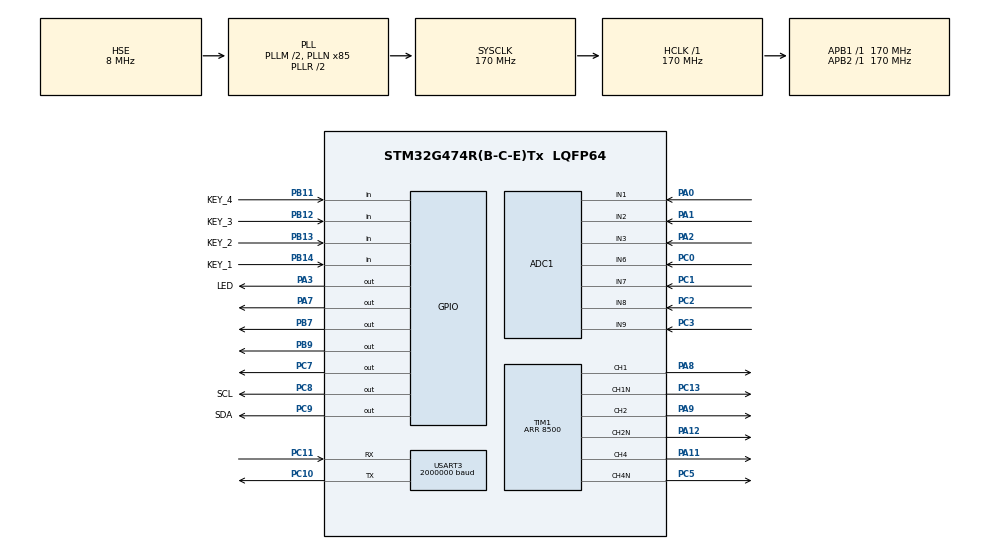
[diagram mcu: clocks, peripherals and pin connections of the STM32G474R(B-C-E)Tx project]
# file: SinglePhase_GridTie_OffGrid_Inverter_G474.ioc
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ADC1.Channel-11\#ChannelRegularConversion=ADC_CHANNEL_1
ADC1.Channel-12\#ChannelRegularConversion=ADC_CHANNEL_2
ADC1.Channel-13\#ChannelRegularConversion=ADC_CHANNEL_3
ADC1.Channel-14\#ChannelRegularConversion=ADC_CHANNEL_6
ADC1.Channel-15\#ChannelRegularConversion=ADC_CHANNEL_7
ADC1.Channel-16\#ChannelRegularConversion=ADC_CHANNEL_8
ADC1.Channel-17\#ChannelRegularConversion=ADC_CHANNEL_9
ADC1.DMAContinuousRequests=ENABLE
ADC1.ExternalTrigConv=ADC_EXTERNALTRIG_T1_TRGO
ADC1.NbrOfConversion=7
ADC1.NbrOfConversionFlag=1
ADC1.OffsetNumber-11\#ChannelRegularConversion=ADC_OFFSET_NONE
ADC1.OffsetNumber-12\#ChannelRegularConversion=ADC_OFFSET_NONE
ADC1.OffsetNumber-13\#ChannelRegularConversion=ADC_OFFSET_NONE
ADC1.OffsetNumber-14\#ChannelRegularConversion=ADC_OFFSET_NONE
ADC1.OffsetNumber-15\#ChannelRegularConversion=ADC_OFFSET_NONE
ADC1.OffsetNumber-16\#ChannelRegularConversion=ADC_OFFSET_NONE
ADC1.OffsetNumber-17\#ChannelRegularConversion=ADC_OFFSET_NONE
ADC1.OversamplingMode=DISABLE
ADC1.Rank-11\#ChannelRegularConversion=1
ADC1.Rank-12\#ChannelRegularConversion=2
ADC1.Rank-13\#ChannelRegularConversion=3
ADC1.Rank-14\#ChannelRegularConversion=4
ADC1.Rank-15\#ChannelRegularConversion=5
ADC1.Rank-16\#ChannelRegularConversion=6
ADC1.Rank-17\#ChannelRegularConversion=7
ADC1.SamplingTime-11\#ChannelRegularConversion=ADC_SAMPLETIME_24CYCLES_5
ADC1.SamplingTime-12\#ChannelRegularConversion=ADC_SAMPLETIME_24CYCLES_5
ADC1.SamplingTime-13\#ChannelRegularConversion=ADC_SAMPLETIME_24CYCLES_5
ADC1.SamplingTime-14\#ChannelRegularConversion=ADC_SAMPLETIME_24CYCLES_5
ADC1.SamplingTime-15\#ChannelRegularConversion=ADC_SAMPLETIME_24CYCLES_5
ADC1.SamplingTime-16\#ChannelRegularConversion=ADC_SAMPLETIME_24CYCLES_5
ADC1.SamplingTime-17\#ChannelRegularConversion=ADC_SAMPLETIME_24CYCLES_5
ADC1.master=1
Dma.ADC1.1.Direction=DMA_PERIPH_TO_MEMORY
Dma.ADC1.1.EventEnable=DISABLE
Dma.ADC1.1.Instance=DMA1_Channel1
Dma.ADC1.1.MemDataAlignment=DMA_MDATAALIGN_HALFWORD
Dma.ADC1.1.MemInc=DMA_MINC_ENABLE
Dma.ADC1.1.Mode=DMA_CIRCULAR
Dma.ADC1.1.PeriphDataAlignment=DMA_PDATAALIGN_HALFWORD
Dma.ADC1.1.PeriphInc=DMA_PINC_DISABLE
Dma.ADC1.1.Polarity=HAL_DMAMUX_REQ_GEN_RISING
Dma.ADC1.1.Priority=DMA_PRIORITY_HIGH
Dma.ADC1.1.RequestNumber=1
Dma.ADC1.1.SignalID=NONE
Dma.ADC1.1.SyncEnable=DISABLE
Dma.ADC1.1.SyncPolarity=HAL_DMAMUX_SYNC_NO_EVENT
Dma.ADC1.1.SyncRequestNumber=1
Dma.ADC1.1.SyncSignalID=NONE
Dma.Request0=USART3_TX
Dma.Request1=ADC1
Dma.USART3_TX.0.Direction=DMA_MEMORY_TO_PERIPH
Dma.USART3_TX.0.EventEnable=DISABLE
Dma.USART3_TX.0.Instance=DMA1_Channel2
Dma.USART3_TX.0.MemDataAlignment=DMA_MDATAALIGN_BYTE
Dma.USART3_TX.0.MemInc=DMA_MINC_ENABLE
Dma.USART3_TX.0.Mode=DMA_CIRCULAR
Dma.USART3_TX.0.PeriphDataAlignment=DMA_PDATAALIGN_BYTE
Dma.USART3_TX.0.PeriphInc=DMA_PINC_DISABLE
Dma.USART3_TX.0.Polarity=HAL_DMAMUX_REQ_GEN_RISING
Dma.USART3_TX.0.Priority=DMA_PRIORITY_LOW
Dma.USART3_TX.0.RequestNumber=1
Dma.USART3_TX.0.SignalID=NONE
Dma.USART3_TX.0.SyncEnable=DISABLE
Dma.USART3_TX.0.SyncPolarity=HAL_DMAMUX_SYNC_NO_EVENT
Dma.USART3_TX.0.SyncRequestNumber=1
Dma.USART3_TX.0.SyncSignalID=NONE
Mcu.Family=STM32G4
Mcu.Name=STM32G474R(B-C-E)Tx
Mcu.Package=LQFP64
NVIC.DMA1_Channel1_IRQn=true\:0\:0\:false\:false\:true\:false\:true\:true
NVIC.DMA1_Channel2_IRQn=true\:2\:0\:true\:false\:true\:false\:true\:true
NVIC.PriorityGroup=NVIC_PRIORITYGROUP_4
NVIC.TIM1_UP_TIM16_IRQn=true\:0\:0\:false\:false\:true\:true\:true\:true
PA0.Mode=IN1-Single-Ended
PA0.Signal=ADC1_IN1
PA1.Mode=IN2-Single-Ended
PA1.Signal=ADC1_IN2
PA11.GPIO_Speed=GPIO_SPEED_FREQ_HIGH
PA11.Signal=S_TIM1_CH4
PA12.GPIO_Speed=GPIO_SPEED_FREQ_HIGH
PA12.Mode=PWM Generation2 CH2 CH2N
PA12.Signal=TIM1_CH2N
PA13.Mode=Serial_Wire
PA13.Signal=SYS_JTMS-SWDIO
PA14.Mode=Serial_Wire
PA14.Signal=SYS_JTCK-SWCLK
PA2.Mode=IN3-Single-Ended
PA2.Signal=ADC1_IN3
PA3.GPIO_Label=LED
PA3.Signal=GPIO_Output
PA7.GPIO_Speed=GPIO_SPEED_FREQ_HIGH
PA7.Signal=GPIO_Output
PA8.GPIO_Speed=GPIO_SPEED_FREQ_LOW
PA8.Signal=S_TIM1_CH1
PA9.GPIO_Speed=GPIO_SPEED_FREQ_HIGH
PA9.Signal=S_TIM1_CH2
PB11.GPIO_Label=KEY_4
PB11.GPIO_PuPd=GPIO_PULLUP
PB11.Signal=GPIO_Input
PB12.GPIO_Label=KEY_3
PB12.GPIO_PuPd=GPIO_PULLUP
PB12.Signal=GPIO_Input
PB13.GPIO_Label=KEY_2
PB13.GPIO_PuPd=GPIO_PULLUP
PB13.Signal=GPIO_Input
PB14.GPIO_Label=KEY_1
PB14.GPIO_PuPd=GPIO_PULLUP
PB14.Signal=GPIO_Input
PB7.GPIO_Speed=GPIO_SPEED_FREQ_HIGH
PB7.Signal=GPIO_Output
PB9.GPIO_Speed=GPIO_SPEED_FREQ_HIGH
PB9.Signal=GPIO_Output
PC0.Mode=IN6-Single-Ended
PC0.Signal=ADC1_IN6
PC1.Mode=IN7-Single-Ended
PC1.Signal=ADC1_IN7
PC10.Mode=Asynchronous
PC10.Signal=USART3_TX
PC11.GPIO_PuPd=GPIO_PULLUP
PC11.Mode=Asynchronous
PC11.Signal=USART3_RX
PC13.GPIO_Speed=GPIO_SPEED_FREQ_LOW
PC13.Mode=PWM Generation1 CH1 CH1N
PC13.Signal=TIM1_CH1N
PC14-OSC32_IN.Mode=LSE-External-Oscillator
PC14-OSC32_IN.Signal=RCC_OSC32_IN
PC15-OSC32_OUT.Mode=LSE-External-Oscillator
PC15-OSC32_OUT.Signal=RCC_OSC32_OUT
PC2.Mode=IN8-Single-Ended
PC2.Signal=ADC1_IN8
PC3.Mode=IN9-Single-Ended
PC3.Signal=ADC1_IN9
PC5.GPIO_Speed=GPIO_SPEED_FREQ_HIGH
PC5.Mode=PWM Generation4 CH4 CH4N
PC5.Signal=TIM1_CH4N
PC7.GPIO_Speed=GPIO_SPEED_FREQ_HIGH
PC7.Signal=GPIO_Output
PC8.GPIO_Label=SCL
PC8.Signal=GPIO_Output
PC9.GPIO_Label=SDA
PC9.Signal=GPIO_Output
PF0-OSC_IN.Mode=HSE-External-Oscillator
PF0-OSC_IN.Signal=RCC_OSC_IN
PF1-OSC_OUT.Mode=HSE-External-Oscillator
PF1-OSC_OUT.Signal=RCC_OSC_OUT
ProjectManager.HeapSize=0x200
ProjectManager.StackSize=0x400
ProjectManager.TargetToolchain=MDK-ARM V5.32
RCC.ADC12Freq_Value=170000000
RCC.ADC345Freq_Value=170000000
RCC.AHBFreq_Value=170000000
RCC.APB1Freq_Value=170000000
RCC.APB1TimFreq_Value=170000000
RCC.APB2Freq_Value=170000000
RCC.APB2TimFreq_Value=170000000
RCC.CortexFreq_Value=170000000
RCC.EXTERNAL_CLOCK_VALUE=12288000
RCC.HCLKFreq_Value=170000000
RCC.HSE_VALUE=8000000
RCC.HSI48_VALUE=48000000
RCC.HSI_VALUE=16000000
RCC.PLLM=RCC_PLLM_DIV2
RCC.PLLN=85
RCC.PLLSourceVirtual=RCC_PLLSOURCE_HSE
RCC.PREFETCH_ENABLE=1
RCC.RTCClockSelection=RCC_RTCCLKSOURCE_LSE
RCC.SYSCLKFreq_VALUE=170000000
RCC.SYSCLKSource=RCC_SYSCLKSOURCE_PLLCLK
RCC.USBFreq_Value=170000000
RCC.VCOOutputFreq_Value=340000000
SH.S_TIM1_CH1.0=TIM1_CH1,PWM Generation1 CH1 CH1N
SH.S_TIM1_CH2.0=TIM1_CH2,PWM Generation2 CH2 CH2N
SH.S_TIM1_CH4.0=TIM1_CH4,PWM Generation4 CH4 CH4N
STMicroelectronics.X-CUBE-ALGOBUILD.1.4.0.LibraryCcDSPOoLibraryJjDSPOoLibrary=true
TIM1.AutoReloadPreload=TIM_AUTORELOAD_PRELOAD_ENABLE
TIM1.Channel-PWM\ Generation1\ CH1\ CH1N=TIM_CHANNEL_1
TIM1.Channel-PWM\ Generation2\ CH2\ CH2N=TIM_CHANNEL_2
TIM1.Channel-PWM\ Generation4\ CH4\ CH4N=TIM_CHANNEL_4
TIM1.CounterMode=TIM_COUNTERMODE_CENTERALIGNED2
TIM1.DeadTime=22
TIM1.OCMode_PWM-PWM\ Generation2\ CH2\ CH2N=TIM_OCMODE_PWM1
TIM1.OCMode_PWM-PWM\ Generation4\ CH4\ CH4N=TIM_OCMODE_PWM1
TIM1.OffStateIDLEMode=TIM_OSSI_ENABLE
TIM1.OffStateRunMode=TIM_OSSR_ENABLE
TIM1.PeriodNoDither=8500
TIM1.PulseNoDither_1=2000
TIM1.PulseNoDither_2=2000
TIM1.PulseNoDither_4=2000
TIM1.TIM_MasterOutputTrigger=TIM_TRGO_UPDATE
TIM1.TIM_MasterSlaveMode=TIM_MASTERSLAVEMODE_ENABLE
USART3.BaudRate=2000000
USART3.VirtualMode-Asynchronous=VM_ASYNC
VP_STMicroelectronics.X-CUBE-ALGOBUILD_VS_DSPOoLibraryJjLibrary_1.4.0_1.4.0.Mode=DSPOoLibraryJjLibrary
VP_SYS_VS_DBSignals.Mode=DisableDeadBatterySignals
VP_TIM1_VS_ClockSourceINT.Mode=Internal
board=custom

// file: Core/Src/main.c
/* USER CODE BEGIN Header */
/**
  * @file           : main.c
  * @brief          : 最终版：OLED仅按键刷新 · 故障定格不自动刷新
  *
  * 核心功能：
  * 1. 四模式工作：待机(STANDBY)、整流(RECTIFIER)、离网(OFFGRID)、并网(ONGRID)
  * 2. 三级测试：Buck、Boost、SOGI锁相环
  * 3. 故障保护：过压/欠压/过流/失锁，故障后屏幕锁定显示
  * 4. 人机交互：OLED显示 + 4按键操作
  *
  * 故障列表 (FaultCode_t):
  * - FAULT_PLL_LOST:          锁相环失锁
  * - FAULT_CONV_OVERCUR:      逆变侧(H桥)过流
  * - FAULT_BOOST_OVERCUR:     Boost级过流
  * - FAULT_BUS_OVERVOLT:      直流母线过压
  * - FAULT_BUS_UNDERVOLT:     直流母线欠压
  * - FAULT_OFFGRID_OVERVOLT:  离网输出过压 (新增)
  * - FAULT_GRID_OVERCUR:      网侧电流过流 (新增)
  */
/* USER CODE END Header */

#include "main.h"
#include "adc.h"
#include "dma.h"
#include "tim.h"
#include "usart.h"
#include "gpio.h"

/* USER CODE BEGIN Includes */
#include <stdio.h>
#include <string.h>
#include "oled.h"
#include "control.h"
#include "calculate.h"
#include "key.h"
#include "debug.h"
/* USER CODE END Includes */

/* USER CODE BEGIN PV */

// ==================== 系统状态变量 ====================
WorkMode_TypeDef work_mode = MODE_STANDBY; // 当前工作模式枚举
uint8_t relay_state = 0;                    // 继电器状态 (仅并网/整流用)
uint8_t pll_enable = 0;                     // 锁相环使能标志

// ==================== 控制目标值 ====================
float grid_i_target = 2.0f;         // 并网/整流电流目标 (A)
float offgrid_Uoac_target = 32.0f;  // 离网输出电压目标 (V)

// ==================== 外部控制使能 (来自 control.c) ====================
extern volatile uint8_t rect_calc_enable;
extern volatile uint8_t offgrid_calc_enable;
extern volatile uint8_t ongrid_calc_enable;
extern volatile uint8_t buck_test_calc_enable;
extern volatile uint8_t boost_test_calc_enable;
extern volatile uint8_t sogi_test_calc_enable;

// ==================== 外部测试目标值 ====================
extern float buck_test_i_target;
extern float boost_test_v_target;

// ==================== 外部采样值 (来自 control.c) ====================
extern float V_VDC_Bus; // 母线电压
extern float V_I_DCDC;  // DCDC电感电流

// ==================== 外部故障标志 (来自 control.c) ====================
extern uint8_t OVP_DC;         // 直流母线过压
extern uint8_t UVP_DC;         // 直流母线欠压
extern uint8_t OCP_BOOST;      // Boost过流
extern uint8_t OCP_CONV;       // 变换器(H桥)过流
extern uint8_t PLL_FAULT;      // 锁相环失锁
extern uint8_t OVP_OFFGRID;    // 【新增】离网输出过压
extern uint8_t OCP_GRID;        // 【新增】网侧电流过流
extern uint8_t Fault_Flag;     // 总故障标志 (逻辑或)
extern FaultCode_t last_fault_code; // 最后一次故障代码 (用于显示)

// ==================== 外部同步标志 ====================
extern uint8_t adc_isr_busy; // ADC中断忙标志 (1=正在计算，勿扰)

// ==================== 本机状态锁存 ====================
uint8_t fault_locked = 0; // 故障锁定标志 (1=屏幕定格，按键仅解锁)

/* USER CODE END PV */

void SystemClock_Config(void);
void OLED_Status_Update(void);
void Fault_Recovery_Process(void);

/* USER CODE BEGIN 0 */

/**
  * @brief  OLED状态刷新函数
  * @note   仅在按键按下或故障触发时调用，不自动刷屏
  */
void OLED_Status_Update(void)
{
    char buf[32]; // 用于格式化字符串的缓冲区
    OLED_Clear(); // 清屏

    // ==========================================
    // 1. 第一行：永远显示当前模式
    // ==========================================
    switch(work_mode)
    {
        case MODE_STANDBY:   OLED_ShowString(0, 0, (u8*)"MODE: STANDBY   ", 16, 1); break;
        case MODE_RECTIFIER: OLED_ShowString(0, 0, (u8*)"MODE: RECTIFIER ", 16, 1); break;
        case MODE_OFFGRID:   OLED_ShowString(0, 0, (u8*)"MODE: OFFGRID   ", 16, 1); break;
        case MODE_ONGRID:    OLED_ShowString(0, 0, (u8*)"MODE: ONGRID    ", 16, 1); break;
        case MODE_BUCK:      OLED_ShowString(0, 0, (u8*)"TEST: BUCK MODE ", 16, 1); break;
        case MODE_BOOST:     OLED_ShowString(0, 0, (u8*)"TEST: BOOST MODE", 16, 1); break;
        case MODE_SOGI:      OLED_ShowString(0, 0, (u8*)"TEST: SOGI PLL  ", 16, 1); break;
        default:             OLED_ShowString(0, 0, (u8*)"MODE: ERROR     ", 16, 1); break;
    }

    // ==========================================
    // 2. 待机模式下的详细显示
    // ==========================================
    if(work_mode == MODE_STANDBY)
    {
        // 情况A：有故障记录 (锁定状态)
        if(last_fault_code != FAULT_NONE)
        {
            OLED_ShowString(0, 16, (u8*)"STATUS: LOCKED!!", 16, 1);
            OLED_ShowString(0, 32, (u8*)"--- LAST ERR ---", 16, 1);

            // 根据故障码显示具体原因
            switch(last_fault_code)
            {
                case FAULT_PLL_LOST:          OLED_ShowString(0, 48, (u8*)"PLL LOST LOCK  ", 16, 1); break;
                case FAULT_CONV_OVERCUR:      OLED_ShowString(0, 48, (u8*)"INV OVERCURRENT", 16, 1); break;
                case FAULT_BOOST_OVERCUR:     OLED_ShowString(0, 48, (u8*)"BOOST OVERCUR  ", 16, 1); break;
                case FAULT_BUS_OVERVOLT:      OLED_ShowString(0, 48, (u8*)"BUS OVERVOLTAGE", 16, 1); break;
                case FAULT_BUS_UNDERVOLT:     OLED_ShowString(0, 48, (u8*)"BUS UNDERVOLT  ", 16, 1); break;
                case FAULT_OFFGRID_OVERVOLT:  OLED_ShowString(0, 48, (u8*)"OFFGRID OV     ", 16, 1); break; // 【新增】离网过压
                case FAULT_GRID_OVERCUR:      OLED_ShowString(0, 48, (u8*)"GRID OVERCUR   ", 16, 1); break; // 【新增】网侧过流
							  case FAULT_BUCK_RMS_OVERCUR: OLED_ShowString(0, 48, (u8*)"BUCK RMS OCP   ", 16, 1); break;
                default:                      OLED_ShowString(0, 48, (u8*)"UNKNOWN ERROR  ", 16, 1); break;

            }
        }
        // 情况B：无故障 (正常待机)
        else
        {
            OLED_ShowString(0, 16, (u8*)"STATUS: READY   ", 16, 1);
            OLED_ShowString(0, 32, (u8*)"K1:Switch Mode  ", 12, 1); // 提示K1切换模式
            OLED_ShowString(0, 48, (u8*)"K2:Buck K3:Boost K4:SOGI", 12, 1); // 提示测试模式入口
        }
    }
    // ==========================================
    // 3. Buck测试模式显示
    // ==========================================
    else if(work_mode == MODE_BUCK)
    {
        OLED_ShowString(0, 16, buck_test_calc_enable ? (u8*)"STATE: RUNNING " : (u8*)"STATE: STOPPED ", 16, 1);
        sprintf(buf, "I_Targ: %.1f A", buck_test_i_target); // 显示电流目标值
        OLED_ShowString(0, 32, (u8*)buf, 16, 1);
    }
    // ==========================================
    // 4. Boost测试模式显示
    // ==========================================
    else if(work_mode == MODE_BOOST)
    {
        OLED_ShowString(0, 16, boost_test_calc_enable ? (u8*)"STATE: RUNNING " : (u8*)"STATE: STOPPED ", 16, 1);
        sprintf(buf, "V_Targ: %.1f V", boost_test_v_target); // 显示电压目标值
        OLED_ShowString(0, 32, (u8*)buf, 16, 1);
    }
    // ==========================================
    // 5. SOGI测试模式显示
    // ==========================================
    else if(work_mode == MODE_SOGI)
    {
        OLED_ShowString(0, 16, (u8*)"STATE: RUNNING ", 16, 1);
        OLED_ShowString(0, 32, (u8*)"VOFA: Grid,SOGI", 16, 1); // 提示看上位机
        OLED_ShowString(0, 48, (u8*)"K4: Exit to STBY", 16, 1);
    }
    // ==========================================
    // 6. 三大主模式显示 (整流/离网/并网)
    // ==========================================
    else
    {
        // 判断是否正在运行 (看对应使能位)
        uint8_t is_run = 0;
        if(work_mode == MODE_RECTIFIER) is_run = rect_calc_enable;
        else if(work_mode == MODE_OFFGRID) is_run = offgrid_calc_enable;
        else if(work_mode == MODE_ONGRID) is_run = ongrid_calc_enable;

        OLED_ShowString(0, 16, is_run ? (u8*)"STATUS: RUNNING" : (u8*)"STATUS: STOPPED", 16, 1);

        // 显示目标值 (离网显示电压，其他显示电流)
        if(work_mode == MODE_OFFGRID)
            sprintf(buf, "Uo_Tar: %.1f V", offgrid_Uoac_target);
        else
            sprintf(buf, "Io_Tar: %.1f A", grid_i_target);

        OLED_ShowString(0, 32, (u8*)buf, 16, 1);
    }

    OLED_Refresh(); // 最后调用一次刷新，将显存内容写入屏幕
}

/**
  * @brief  故障恢复与处理流程 (主循环轮询)
  * @note   核心逻辑：检测故障 -> 锁存故障码 -> 停机 -> 定格显示
  */
void Fault_Recovery_Process(void)
{
    // 如果已经锁定，直接跳过 (防止重复触发)
    if(fault_locked == 1)
        return;

    // 检测到总故障标志为1
    if(Fault_Flag == 1)
    {
        fault_locked = 1; // 立即锁定系统

        // ==========================================
        // 【关键 1】必须第一时间快照故障码！
        // 绝对不能先调用 Controller_XXX_Reset_All()，否则标志位会被清零！
        // 注意：判断顺序很重要，优先级高的放前面
        // ==========================================
        if(PLL_FAULT)          last_fault_code = FAULT_PLL_LOST;
        else if(OCP_GRID)      last_fault_code = FAULT_GRID_OVERCUR;      // 【新增】网侧过流 (高优先级)
        else if(OCP_CONV)      last_fault_code = FAULT_CONV_OVERCUR;
        else if(OCP_BOOST)     last_fault_code = FAULT_BOOST_OVERCUR;
        else if(OVP_OFFGRID)   last_fault_code = FAULT_OFFGRID_OVERVOLT;  // 【新增】离网过压
        else if(OVP_DC)        last_fault_code = FAULT_BUS_OVERVOLT;
        else if(UVP_DC)        last_fault_code = FAULT_BUS_UNDERVOLT;

        // ==========================================
        // 【关键 2】执行安全停机序列
        // ==========================================
        // 1. 关闭所有软件使能
        rect_calc_enable = 0;
        offgrid_calc_enable = 0;
        ongrid_calc_enable = 0;
        buck_test_calc_enable = 0;
        boost_test_calc_enable = 0;
        sogi_test_calc_enable = 0;

        // 2. 复位所有控制器 (清零算法积分项等状态)
        Controller_BuckTest_Reset_All();
        Controller_BoostTest_Reset_All();
        Controller_SOGITest_Reset_All();
        Controller_Rect_Reset_All();
        Controller_Offgrid_Reset_All();
        Controller_Ongrid_Reset_All();

        // 3. 硬件级停机 (关闭PWM输出)
        sys_stop();

        // 4. 断开继电器和关闭驱动使能 (拉高引脚为关闭)
        HAL_GPIO_WritePin(RELAY_PORT, RELAY_PIN, GPIO_PIN_RESET);
        HAL_GPIO_WritePin(GPIOB, GPIO_PIN_9, GPIO_PIN_SET);
        HAL_GPIO_WritePin(GPIOC, GPIO_PIN_7, GPIO_PIN_SET);
        HAL_GPIO_WritePin(GPIOA, GPIO_PIN_7, GPIO_PIN_SET);

        // 5. 切回待机模式
        work_mode = MODE_STANDBY;

        // ==========================================
        // 最后刷新OLED，显示故障信息并定格
        // ==========================================
        OLED_Status_Update();
    }
}

/* USER CODE END 0 */

/**
  * @brief  主函数入口
  */
int main(void)
{
    // 1. HAL库初始化
    HAL_Init();

    // 2. 系统时钟配置 (170MHz)
    SystemClock_Config();

    // 3. 外设初始化 (GPIO, DMA, ADC, Timer, UART)
    MX_GPIO_Init();
    MX_DMA_Init();
    MX_ADC1_Init();
    MX_TIM1_Init();
    MX_USART3_UART_Init();

    // 4. OLED初始化与开机画面
    HAL_Delay(100);
    OLED_Init();
    OLED_Clear();
    OLED_ShowString(0, 0, (u8*)"System Core Init", 16, 1);
    OLED_Refresh();
    HAL_Delay(400); // 延时让用户看到启动画面

    // 5. 所有控制算法初始化 (仅上电执行一次)
    Controller_Rect_Init_All();
    Controller_Offgrid_Init_All();
    Controller_Ongrid_Init_All();
    Controller_BuckTest_Init_All();
    Controller_BoostTest_Init_All();
    Controller_SOGITest_Init_All();

    // 6. 初始状态设置
    sys_stop();       // 确保硬件PWM停止
    fault_locked = 0; // 解锁状态
    OLED_Status_Update(); // 刷新到待机界面

    // 7. 启动模拟与数字外设
    HAL_ADCEx_Calibration_Start(&hadc1, ADC_SINGLE_ENDED); // ADC校准
    HAL_ADC_Start_DMA(&hadc1, (uint32_t*)ADC_Sample, 7);   // 启动ADC DMA搬运 (7通道)
    HAL_TIM_Base_Start(&htim1);                               // 启动定时器 (触发ADC)

    // ==================== 主循环 (Super Loop) ====================
    while (1)
    {
        // 任务1：故障检测与处理 (最高优先级)
        Fault_Recovery_Process();

        // 如果处于故障锁定状态...
        if(fault_locked == 1)
        {
            Key_Scan(); // 仅扫描按键
            // 检测K1键：解锁系统
            if(Key_GetAndClear() == 1)
            {
                fault_locked = 0;                    // 解锁
                Fault_Flag = 0;                      // 清除总故障标志
                last_fault_code = FAULT_NONE;        // 清除故障记忆

                // 清除所有具体故障标志
                OVP_DC = 0;
                UVP_DC = 0;
                OCP_BOOST = 0;
                OCP_CONV = 0;
                PLL_FAULT = 0;
                OVP_OFFGRID = 0;                     // 【新增】清零离网过压标志
                OCP_GRID = 0;                         // 【新增】清零网侧过流标志

                OLED_Status_Update();                // 刷新回正常待机界面
            }
            HAL_Delay(10);
            continue; // 锁定状态下跳过后面的逻辑
        }

        // 任务2：正常状态下的按键扫描
        Key_Scan();

        // 任务3：如果ADC不在中断中，处理按键事件
        if(adc_isr_busy == 0)
        {
            uint8_t key = Key_GetAndClear();
            if(key != 0)
            {
                if(key == 1)
                    Mode_Switch_Handle();    // K1: 切换模式
                else
                    Key_Function_Handle(key); // K2/K3/K4: 上下文相关功能

                OLED_Status_Update(); // 按键操作后刷新一次屏幕
            }
        }
        HAL_Delay(5); // 简单的延时，防止CPU占用率100%
    }
}

void SystemClock_Config(void)
{
    RCC_OscInitTypeDef RCC_OscInitStruct = {0};
    RCC_ClkInitTypeDef RCC_ClkInitStruct = {0};

    // 配置电压缩放范围 (Boost模式以支持170MHz)
    HAL_PWREx_ControlVoltageScaling(PWR_REGULATOR_VOLTAGE_SCALE1_BOOST);

    // 配置HSE外部晶振 + PLL
    RCC_OscInitStruct.OscillatorType = RCC_OSCILLATORTYPE_HSE;
    RCC_OscInitStruct.HSEState = RCC_HSE_ON;
    RCC_OscInitStruct.PLL.PLLState = RCC_PLL_ON;
    RCC_OscInitStruct.PLL.PLLSource = RCC_PLLSOURCE_HSE;
    RCC_OscInitStruct.PLL.PLLM = RCC_PLLM_DIV2;
    RCC_OscInitStruct.PLL.PLLN = 85;
    RCC_OscInitStruct.PLL.PLLP = RCC_PLLP_DIV2;
    RCC_OscInitStruct.PLL.PLLQ = RCC_PLLQ_DIV2;
    RCC_OscInitStruct.PLL.PLLR = RCC_PLLR_DIV2;
    HAL_RCC_OscConfig(&RCC_OscInitStruct);

    // 配置AHB/APB总线分频
    RCC_ClkInitStruct.ClockType = RCC_CLOCKTYPE_HCLK|RCC_CLOCKTYPE_SYSCLK
                                |RCC_CLOCKTYPE_PCLK1|RCC_CLOCKTYPE_PCLK2;
    RCC_ClkInitStruct.SYSCLKSource = RCC_SYSCLKSOURCE_PLLCLK;
    RCC_ClkInitStruct.AHBCLKDivider = RCC_SYSCLK_DIV1;
    RCC_ClkInitStruct.APB1CLKDivider = RCC_HCLK_DIV1;
    RCC_ClkInitStruct.APB2CLKDivider = RCC_HCLK_DIV1;
    HAL_RCC_ClockConfig(&RCC_ClkInitStruct, FLASH_LATENCY_4);
}

/**
  * @brief  错误处理函数 (HAL库报错时调用)
  */
void Error_Handler(void)
{
    __disable_irq(); // 关中断
    while (1) {}    // 死循环死机
}
